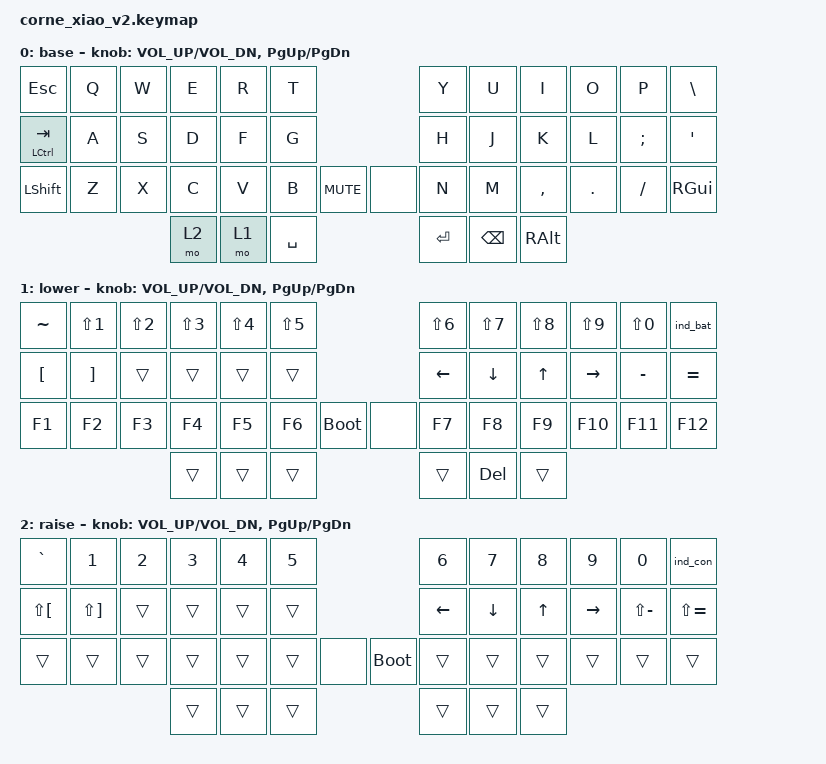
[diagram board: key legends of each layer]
#include <behaviors.dtsi>
#include <dt-bindings/zmk/keys.h>
#include <dt-bindings/zmk/bt.h>
#include <behaviors/rgbled_widget.dtsi>

/ {
    combos {
        compatible = "zmk,combos";
        combo_studio_unlock {
            timeout-ms = <50>;
            key-positions = <0 1>;
            bindings = <&studio_unlock>;
        };
    };
};

/ {
    keymap {
        compatible = "zmk,keymap";

        default_layer {
            display-name = "base";
            sensor-bindings = <&inc_dec_kp C_VOL_UP C_VOL_DN &inc_dec_kp PG_UP PG_DN>;

// -------------------------------------------------------------------------------------------------
// |  ESC |  Q  |  W  |  E  |  R  |  T  |                    |  Y  |  U  |  I  |  O  |  P  | BSLS |
// | C/TB |  A  |  S  |  D  |  F  |  G  |                    |  H  |  J  |  K  |  L  |  ;  |  '   |
// | SHFT |  Z  |  X  |  C  |  V  |  B  |  MUTE | NONE |      |  N  |  M  |  ,  |  .  |  /  | RGUI |
//                    | MO2 | MO1 | SPC |                    | ENT | BSPC | ALT |
           bindings = <
&kp ESC       &kp Q &kp W &kp E &kp R &kp T                      &kp Y     &kp U     &kp I     &kp O   &kp P    &kp BACKSLASH
&mt LCTRL TAB &kp A &kp S &kp D &kp F &kp G                      &kp H     &kp J     &kp K     &kp L   &kp SEMI &kp SQT
&kp LSHFT     &kp Z &kp X &kp C &kp V &kp B     &kp C_MUTE &none &kp N     &kp M     &kp COMMA &kp DOT &kp FSLH &kp RGUI
                          &mo 2 &mo 1 &kp SPACE                  &kp ENTER &kp BSPC  &kp RALT
            >;
        };

        lower_layer {
            display-name = "lower";
            sensor-bindings = <&inc_dec_kp C_VOL_UP C_VOL_DN &inc_dec_kp PG_UP PG_DN>;

// ------------------------------------------------------------------------------------------------
// |   ~  |  !  |  @  |  #  |  $  |  %  |                    |  ^  |  &  |  *  |  (  |  )  | BAT  |
// |  [   |  ]  | TRN | TRN | TRN | TRN |                    | LFT | DWN |  UP | RGT |  -  |  =   |
// |  F1  | F2  | F3  | F4  | F5  | F6  | BOOT | NONE |      | F7  | F8  | F9  | F10 | F11 |  F12 |
//                    | TRN | TRN | TRN |                    | TRN | DEL | TRN |
            bindings = <
&kp TILDE         &kp LS(NUMBER_1)   &kp LS(NUMBER_2)  &kp LS(N3)  &kp LS(N4) &kp LS(N5)                   &kp LS(N6) &kp LS(N7) &kp LS(N8)    &kp LS(N9)  &kp LS(N0) &ind_bat
&kp LEFT_BRACKET  &kp RIGHT_BRACKET  &trans            &trans      &trans     &trans                       &kp LEFT   &kp DOWN   &kp UP_ARROW  &kp RIGHT   &kp MINUS  &kp EQUAL
&kp F1            &kp F2             &kp F3            &kp F4      &kp F5     &kp F6     &bootloader &none &kp F7     &kp F8     &kp F9        &kp F10     &kp F11    &kp F12
                                                       &trans      &trans     &trans                       &trans     &kp DEL    &trans
            >;
        };

        raise_layer {
            display-name = "raise";
            sensor-bindings = <&inc_dec_kp C_VOL_UP C_VOL_DN &inc_dec_kp PG_UP PG_DN>;

// ------------------------------------------------------------------------------------------------
// |  `   |  1  |  2  |  3  |  4  |  5  |                    |  6  |  7  |  8  |  9  |  0  | CON  |
// |  {   |  }  | TRN | TRN | TRN | TRN |                    | LFT | DWN |  UP | RGT |  _  |  +   |
// | TRN  | TRN | TRN | TRN | TRN | TRN | NONE | BOOT |      | TRN | TRN | TRN | TRN | TRN | TRN  |
//                    | TRN | TRN | TRN |                    | TRN | TRN | TRN |
            bindings = <
&kp GRAVE             &kp NUMBER_1           &kp NUMBER_2   &kp N3   &kp N4   &kp N5                      &kp N6     &kp N7     &kp N8        &kp N9     &kp N0         &ind_con
&kp LS(LEFT_BRACKET)  &kp LS(RIGHT_BRACKET)  &trans         &trans   &trans   &trans                      &kp LEFT   &kp DOWN   &kp UP_ARROW  &kp RIGHT  &kp LS(MINUS)  &kp LS(EQUAL)
&trans                &trans                 &trans         &trans   &trans   &trans    &none &bootloader &trans     &trans     &trans        &trans     &trans         &trans
                                                            &trans   &trans   &trans                      &trans     &trans     &trans
            >;
        };

        extra1 {
            display-name = "extra1";
            status = "reserved";
        };

        extra2 {
            display-name = "extra2";
            status = "reserved";
        };
    };
};
